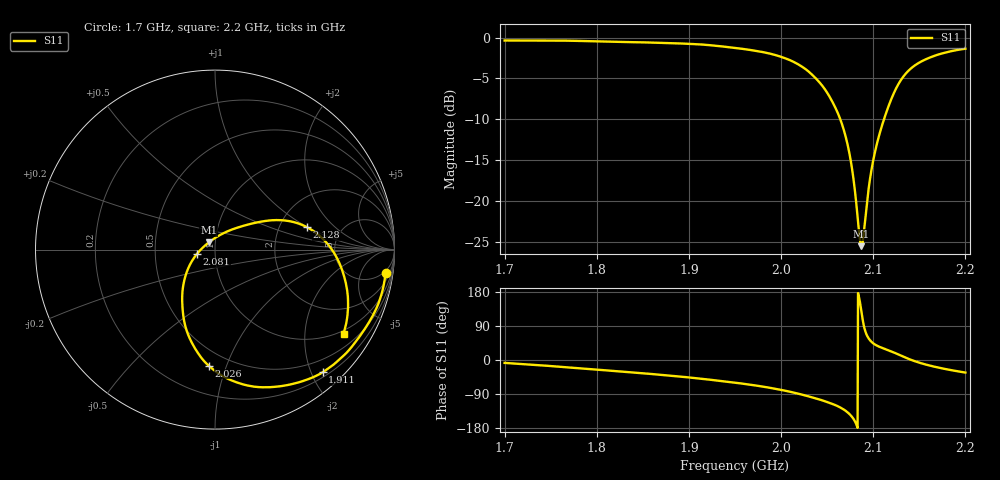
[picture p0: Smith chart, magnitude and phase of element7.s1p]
# Hz S RI R 50
! CMT, CMT808U, 21440046, 21.4.3/4
! Date: 12/1/2025 1:34:36 PM
! Data: Format (Calibration Info)
! Freq	S11:Re/Im(F2)
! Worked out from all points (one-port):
!   1001 points, 1.7 GHz to 2.2 GHz, reference 50 ohm
!   lowest |S11| = -25.5 dB at 2.087 GHz (marker M1), VSWR 1.11, Z = 46.5 + j3.73 ohm
!   |S11| at or under -10 dB: 2.064 GHz to 2.112 GHz (47.43 MHz wide, 2.27 % of centre)
!   S11 on the Smith chart (normalised r, x): 1.7 GHz: 4, -14; 1.911 GHz: 0.28, -2.18; 2.026 GHz: 0.39, -0.87; 2.081 GHz: 0.82, -0.04; 2.128 GHz: 2.85, +0.99; 2.2 GHz: 0.90, -3.12
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1.7e9  0.9517 -0.1279
1.7625e9  0.9105 -0.3004
1.825e9  0.8133 -0.4731
1.8875e9  0.6747 -0.6288
1.911e9  0.5998 -0.6838
1.95e9  0.4347 -0.7479
1.987e9  0.2341 -0.7654
2.0125e9  0.0583 -0.7129
2.0255e9  -0.035 -0.6468
2.0435e9  -0.1391 -0.4983
2.057e9  -0.179 -0.348
2.0675e9  -0.179 -0.2137
2.075e9  -0.1502 -0.1068
2.078e9  -0.1287 -0.0643
2.081e9  -0.1012 -0.025
2.085e9  -0.0579 0.0204
2.087e9  -0.0346 0.04
2.0895e9  -0.00438 0.0618
2.0945e9  0.0582 0.0967
2.0975e9  0.0964 0.1126
2.1035e9  0.1704 0.136
2.1155e9  0.3269 0.164
2.128e9  0.512 0.1251
2.1375e9  0.6195 0.0404
2.1485e9  0.6916 -0.0721
2.163e9  0.7328 -0.206
2.182e9  0.7391 -0.3546
2.2e9  0.716 -0.468
